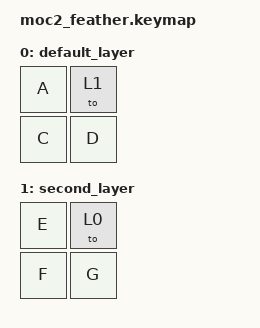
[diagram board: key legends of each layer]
/*
 * Copyright (c) 2022 The ZMK Contributors
 *
 * SPDX-License-Identifier: MIT
 */

#include <behaviors.dtsi>
#include <dt-bindings/zmk/keys.h>

/ {

    keymap {
        compatible = "zmk,keymap";

        default_layer { // Layer 0
            bindings = <
                &kp A      &kp C
                &to 1      &kp D
            >;
        };

        second_layer  { // Layer 1
            bindings = <
                &kp E      &kp F
                &to 0      &kp G
            >;
        };

    };
};
